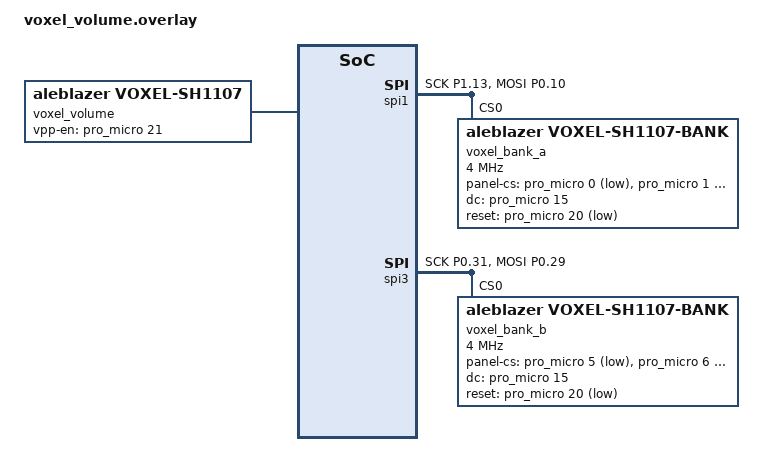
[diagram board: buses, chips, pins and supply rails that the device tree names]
/*
 * Copyright (c) 2026 Spencer Deven (@Aleblazer)
 * SPDX-License-Identifier: MIT
 *
 * voxel_volume: ten SH1107 128x128 panels on a Pro Micro footprint nRF52840
 * (nice!nano and compatibles), split over two SPI buses.
 *
 *   bank A (z0..z4)  SPIM1: SCK D16 (P1.13)  MOSI D14 (P0.10)  CS D0 D1 D2 D3 D4
 *   bank B (z5..z9)  SPIM3: SCK D18 (P0.31)  MOSI D19 (P0.29)  CS D5 D6 D7 D8 D9
 *   D/C   D15 (P1.11)   shared by all panels
 *   RESET D20 (P0.02)   shared by all panels
 *   VPP enable D21 (P1.15), optional
 *   D10 spare
 *
 * SPIM3 is used for the second bank because SPIM0 shares its instance with
 * I2C0 on the nRF52840. Add this shield after the keyboard shield:
 *   shield: my_dongle voxel_volume
 */

#include <behaviors/voxel.dtsi>

&pinctrl {
    voxel_spi1_default: voxel_spi1_default {
        group1 {
            psels = <NRF_PSEL(SPIM_SCK, 1, 13)>,
                    <NRF_PSEL(SPIM_MOSI, 0, 10)>;
        };
    };

    voxel_spi1_sleep: voxel_spi1_sleep {
        group1 {
            psels = <NRF_PSEL(SPIM_SCK, 1, 13)>,
                    <NRF_PSEL(SPIM_MOSI, 0, 10)>;
            low-power-enable;
        };
    };

    voxel_spi3_default: voxel_spi3_default {
        group1 {
            psels = <NRF_PSEL(SPIM_SCK, 0, 31)>,
                    <NRF_PSEL(SPIM_MOSI, 0, 29)>;
        };
    };

    voxel_spi3_sleep: voxel_spi3_sleep {
        group1 {
            psels = <NRF_PSEL(SPIM_SCK, 0, 31)>,
                    <NRF_PSEL(SPIM_MOSI, 0, 29)>;
            low-power-enable;
        };
    };
};

&spi1 {
    compatible = "nordic,nrf-spim";
    status = "okay";
    pinctrl-0 = <&voxel_spi1_default>;
    pinctrl-1 = <&voxel_spi1_sleep>;
    pinctrl-names = "default", "sleep";
    /delete-property/ cs-gpios;

    voxel_bank_a: voxel_bank@0 {
        compatible = "aleblazer,voxel-sh1107-bank";
        reg = <0>;
        spi-max-frequency = <4000000>;
        panel-cs-gpios = <&pro_micro 0 GPIO_ACTIVE_LOW>,
                         <&pro_micro 1 GPIO_ACTIVE_LOW>,
                         <&pro_micro 2 GPIO_ACTIVE_LOW>,
                         <&pro_micro 3 GPIO_ACTIVE_LOW>,
                         <&pro_micro 4 GPIO_ACTIVE_LOW>;
        dc-gpios = <&pro_micro 15 GPIO_ACTIVE_HIGH>;
        reset-gpios = <&pro_micro 20 GPIO_ACTIVE_LOW>;
    };
};

&spi3 {
    compatible = "nordic,nrf-spim";
    status = "okay";
    pinctrl-0 = <&voxel_spi3_default>;
    pinctrl-1 = <&voxel_spi3_sleep>;
    pinctrl-names = "default", "sleep";
    /delete-property/ cs-gpios;

    voxel_bank_b: voxel_bank@0 {
        compatible = "aleblazer,voxel-sh1107-bank";
        reg = <0>;
        spi-max-frequency = <4000000>;
        panel-cs-gpios = <&pro_micro 5 GPIO_ACTIVE_LOW>,
                         <&pro_micro 6 GPIO_ACTIVE_LOW>,
                         <&pro_micro 7 GPIO_ACTIVE_LOW>,
                         <&pro_micro 8 GPIO_ACTIVE_LOW>,
                         <&pro_micro 9 GPIO_ACTIVE_LOW>;
        dc-gpios = <&pro_micro 15 GPIO_ACTIVE_HIGH>;
        reset-gpios = <&pro_micro 20 GPIO_ACTIVE_LOW>;
    };
};

/ {
    voxel_volume: voxel_volume {
        compatible = "aleblazer,voxel-sh1107";
        banks = <&voxel_bank_a &voxel_bank_b>;
        vpp-en-gpios = <&pro_micro 21 GPIO_ACTIVE_HIGH>;
        contrast = <0xA2>;
        /* Orientation fixes once the stack is mounted: */
        /* flip-x; flip-y; flip-z; swap-xy; */
    };
};
